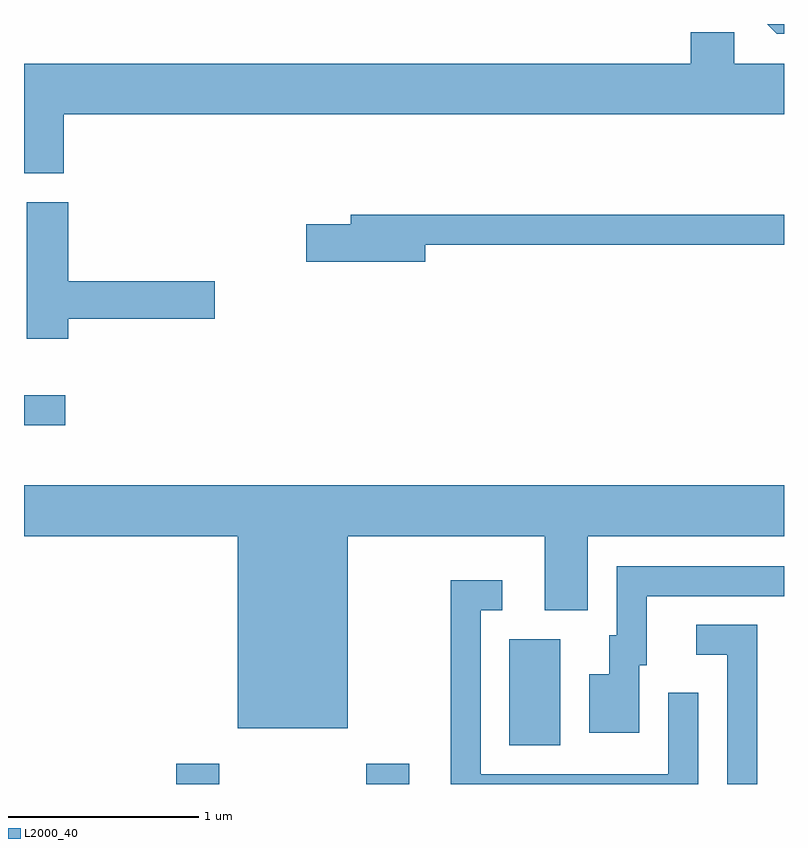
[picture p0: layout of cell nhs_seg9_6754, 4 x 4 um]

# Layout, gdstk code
import gdstk
lib = gdstk.Library(unit=1e-6, precision=1e-09)
def R(c, l, rs):  # rectangles x0, y0, x1, y1
    for r in rs: c.add(gdstk.rectangle(r[:2], r[2:], *l))
def P(c, l, *ps):  # polygons
    for p in ps: c.add(gdstk.Polygon(p, *l))
L2000_40 = (2000, 40)

nhs_seg9_6754 = lib.new_cell('nhs_seg9_6754')
R(nhs_seg9_6754, L2000_40, [(384.411,2070.432,384.639,2070.539), (385.411,2070.432,385.639,2070.539), (386.166,2070.636,386.434,2071.194), (383.611,2072.321,383.828,2072.479)])
P(nhs_seg9_6754, L2000_40, [(387.611,2074.432),(387.523,2074.432),(387.574,2074.381),(387.611,2074.381)],
  [(383.819,2073.956),(387.611,2073.956),(387.611,2074.224),(387.349,2074.224),(387.349,2074.389),(387.121,2074.389),(387.121,2074.224),(383.611,2074.224),(383.611,2073.646),(383.819,2073.646)],
  [(383.844,2072.881),(384.614,2072.881),(384.614,2073.079),(383.844,2073.079),(383.844,2073.494),(383.626,2073.494),(383.626,2072.776),(383.844,2072.776)],
  [(385.724,2073.271),(387.611,2073.271),(387.611,2073.429),(385.331,2073.429),(385.331,2073.379),(385.096,2073.379),(385.096,2073.181),(385.724,2073.181)],
  [(385.314,2071.736),(386.351,2071.736),(386.351,2071.346),(386.579,2071.346),(386.579,2071.736),(387.611,2071.736),(387.611,2072.004),(383.611,2072.004),(383.611,2071.736),(384.736,2071.736),(384.736,2070.726),(385.314,2070.726)],
  [(386.849,2071.056),(386.889,2071.056),(386.889,2071.421),(387.611,2071.421),(387.611,2071.579),(386.731,2071.579),(386.731,2071.214),(386.691,2071.214),(386.691,2071.009),(386.586,2071.009),(386.586,2070.701),(386.849,2070.701)],
  [(387.159,2070.913),(387.001,2070.913),(387.001,2070.484),(386.014,2070.484),(386.014,2071.346),(386.128,2071.346),(386.128,2071.504),(385.856,2071.504),(385.856,2070.432),(387.159,2070.432)],
  [(387.469,2071.269),(387.148,2071.269),(387.148,2071.111),(387.311,2071.111),(387.311,2070.432),(387.469,2070.432)])

lib.write_gds('nhs_seg9_6754.gds')
